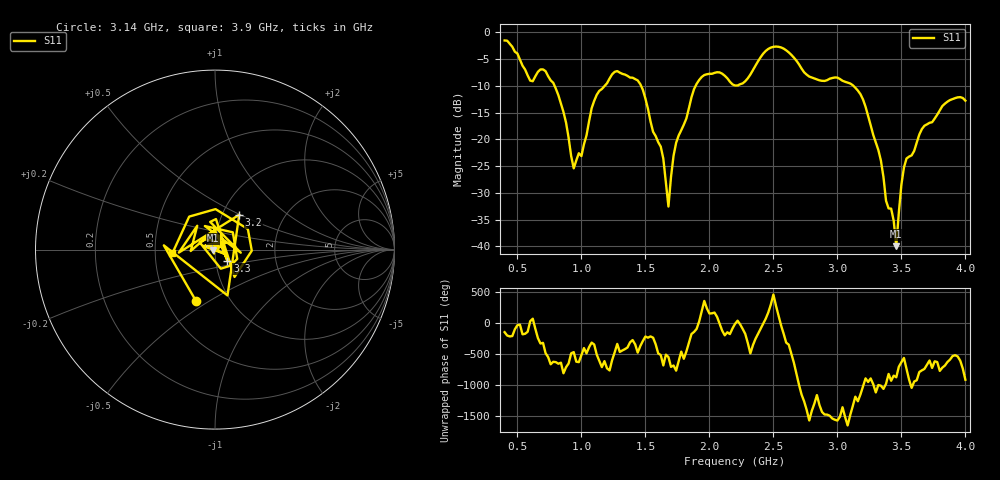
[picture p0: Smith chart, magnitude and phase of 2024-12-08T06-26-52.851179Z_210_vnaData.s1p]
!Created with skrf (http://scikit-rf.org).
# Hz S RI R 50.0
!freq ReS11 ImS11
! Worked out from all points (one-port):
!   181 points, 400 MHz to 4 GHz, reference 50 ohm
!   lowest |S11| = -40.0 dB at 3.46 GHz (marker M1), VSWR 1.02, Z = 49.1 - j0.377 ohm
!   |S11| at or under -10 dB: 790.8 MHz to 1.181 GHz (390.4 MHz wide, 39.6 % of centre); 1.466 GHz to 1.892 GHz (425.8 MHz wide, 25.4 % of centre); 3.126 GHz to end of sweep
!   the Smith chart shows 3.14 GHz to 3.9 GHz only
!   S11 on the Smith chart (normalised r, x): 3.14 GHz: 0.69, -0.44; 3.2 GHz: 1.20, +0.49; 3.3 GHz: 1.14, -0.14; 3.9 GHz: 0.62, -0.03
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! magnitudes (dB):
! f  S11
! 400 MHz  -1.5
! 600 MHz  -9.0
! 720 MHz  -7.2
! 860 MHz  -14.9
! 940 MHz  -25.4
! 1 GHz  -23.1
! 1.12 GHz  -11.7
! 1.3 GHz  -7.5
! 1.48 GHz  -10.7
! 1.62 GHz  -21.4
! 1.68 GHz  -32.5
! 1.72 GHz  -23.0
! 1.76 GHz  -19.3
! 1.94 GHz  -8.3
! 2.2 GHz  -9.9
! 2.48 GHz  -2.8
! 2.66 GHz  -4.7
! 3.1 GHz  -9.5
! 3.14 GHz  -10.3
! 3.2 GHz  -12.5
! 3.3 GHz  -20.6
! 3.38 GHz  -31.5
! 3.44 GHz  -35.2
! 3.46 GHz  -40.0
! 3.5 GHz  -28.5
! 3.56 GHz  -23.2
! 3.9 GHz  -12.5
! 4 GHz  -12.8
